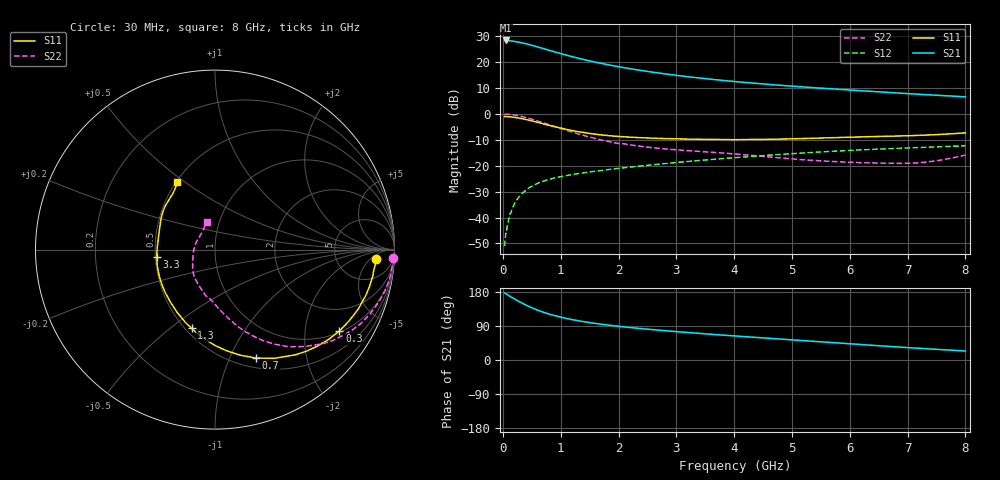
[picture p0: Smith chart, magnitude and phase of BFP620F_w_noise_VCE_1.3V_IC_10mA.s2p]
! Infineon Technologies  Discrete & RF Semiconductors
! BFP620F
! VCE =  1.3 V,  IC =  10 mA
! Common Emitter S-Parameters:  Dec 2014
# GHz  S  MA  R  50
!  f  S11  S21  S12  S22
! GHz  MAG  ANG  MAG  ANG  MAG  ANG  MAG  ANG
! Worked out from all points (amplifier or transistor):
!   95 points, 30 MHz to 8 GHz, reference 50 ohm
!   highest |S21| = 28.4 dB at 60 MHz (marker M1)
!   |S21| within 3 dB of that: start of sweep to 678.4 MHz
!   unconditionally stable (mu >= 1): 4.013 GHz to end of sweep
!   at 300 MHz: K = 0.16, MSG = 29.5 dB, |S12| = -31.4 dB
!   at 3.3 GHz: K = 0.96, MSG = 16.2 dB, |S12| = -18.1 dB
!   at 8 GHz: K = 1.09, MAG = 7.7 dB, |S12| = -12.3 dB
!   lowest NFmin = 0.60 dB at 450 MHz
!   S11 on the Smith chart (normalised r, x): 30 MHz: 14, -7; 300 MHz: 1.05, -3.02; 700 MHz: 0.61, -1.26; 1.3 GHz: 0.54, -0.60; 3.3 GHz: 0.51, -0.05; 8 GHz: 0.50, +0.47
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0.03  0.8958 -3.3  26.37 176.8  0.0028 101.3  0.9915 -2.6
0.06  0.8933 -6.8  26.43 174.1  0.005 103.2  0.9922 -5.2
0.15  0.8775 -17.1  25.81 165.6  0.0137 83.0  0.9743 -13.7
0.25  0.8462 -28.0  24.77 156.7  0.0229 75.7  0.9359 -22.4
0.3  0.8283 -33.2  24.16 152.7  0.0268 73.3  0.9126 -26.6
0.4  0.7834 -43.4  22.83 144.8  0.0339 69.2  0.8544 -34.3
0.5  0.7378 -52.6  21.3 138.0  0.0404 65.2  0.7966 -41.2
0.6  0.69 -61.4  19.83 131.6  0.0458 61.9  0.7342 -47.4
0.7  0.6464 -69.2  18.41 126.1  0.0506 59.1  0.6773 -53.0
0.8  0.6048 -76.6  17.06 121.2  0.0547 56.9  0.6225 -57.8
1  0.5354 -89.8  14.73 113.1  0.0617 53.9  0.5276 -66.1
1.1  0.505 -95.7  13.72 109.6  0.0648 52.7  0.4853 -69.9
1.3  0.457 -106.6  12.03 103.7  0.0706 51.1  0.4146 -76.4
1.4  0.4397 -111.7  11.32 101.1  0.0732 50.6  0.3862 -79.4
1.6  0.4085 -121.1  10.07 96.5  0.0787 50.0  0.3366 -85.5
1.9  0.3764 -133.4  8.625 90.7  0.0866 49.2  0.283 -94.1
2.7  0.3388 -158.9  6.2 78.7  0.1076 47.0  0.2171 -114.6
3.3  0.3273 -172.7  5.117 71.4  0.1239 45.3  0.1929 -125.8
4.1  0.3211 171.8  4.166 62.5  0.1461 42.3  0.1662 -138.0
5.4  0.3418 152.5  3.223 49.0  0.1825 35.6  0.1269 -165.2
6.7  0.3733 135.4  2.604 35.7  0.2144 27.5  0.1118 155.8
8  0.4333 119.1  2.153 23.6  0.2435 19.5  0.1613 107.0
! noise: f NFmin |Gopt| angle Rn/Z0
0.45  0.6  0.26  8  0.22
0.9  0.67  0.25  19  0.19
1.5  0.73  0.24  21  0.15
1.8  0.75  0.22  24  0.13
1.9  0.76  0.18  38  0.15
2.4  0.81  0.15  54  0.13
3.5  0.91  0.14  75  0.12
5.5  1.08  0.11  178  0.1
6  1.12  0.1  207  0.16
